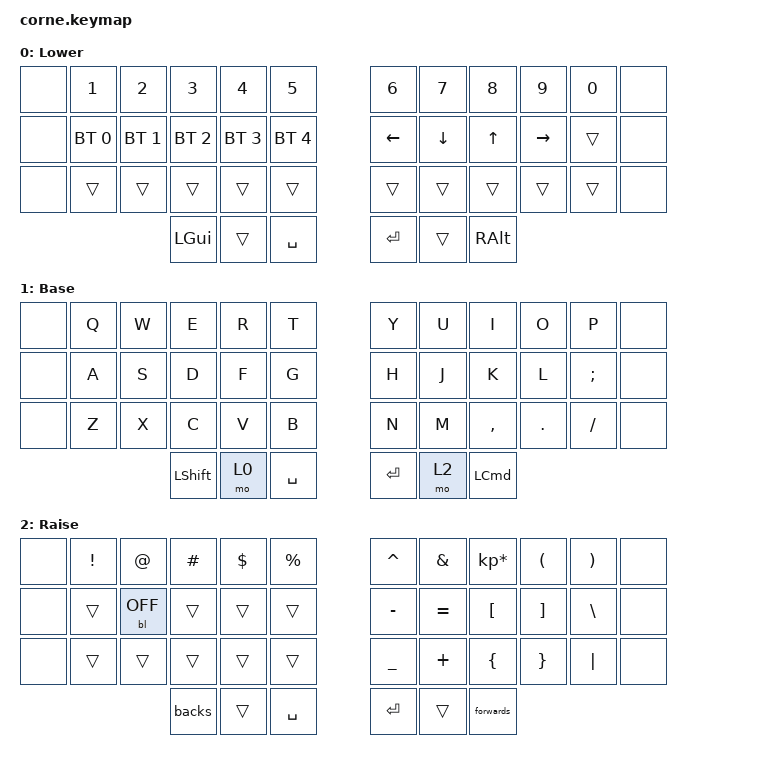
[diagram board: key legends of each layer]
/*
 * Copyright (c) 2020 The ZMK Contributors
 *
 * SPDX-License-Identifier: MIT
 */

#include <behaviors.dtsi>
#include <dt-bindings/zmk/backlight.h>
#include <dt-bindings/zmk/bt.h>
#include <dt-bindings/zmk/keys.h>

/ {
    combos {
        compatible = "zmk,combos";

        bckspc {
            bindings = <&kp BACKSPACE>;
            key-positions = <9 10>;
            layers = <1>;
        };

        del {
            bindings = <&kp DEL>;
            key-positions = <21 22>;
            layers = <1>;
        };

        tags {
            bindings = <&kp TAB>;
            key-positions = <13 14>;
            layers = <1>;
        };
    };

    macros {
        forwards: Rais {
            compatible = "zmk,behavior-macro";
            #binding-cells = <0>;
            bindings = <&kp RIGHT_SHIFT &kp LEFT_COMMAND &kp RIGHT_BRACKET>;
            label = "fork";
        };

        backs: Raise {
            compatible = "zmk,behavior-macro";
            #binding-cells = <0>;
            bindings = <&kp RIGHT_SHIFT &kp LEFT_COMMAND &kp LEFT_BRACKET>;
            label = "NEW_MACRO";
        };
    };

    keymap {
        compatible = "zmk,keymap";

        lower_layer {
            // -----------------------------------------------------------------------------------------
            // |  TAB |  1  |  2  |  3  |  4  |  5  |   |  6  |  7  |  8  |  9  |  0  | BKSP |
            // | BTCLR| BT1 | BT2 | BT3 | BT4 | BT5 |   | LFT | DWN |  UP | RGT |     |      |
            // | SHFT |     |     |     |     |     |   |     |     |     |     |     |      |
            //                    | GUI |     | SPC |   | ENT |     | ALT |

            display-name = "Lower";
            bindings = <
&none  &kp N1        &kp N2        &kp N3        &kp N4        &kp N5          &kp N6    &kp N7    &kp N8    &kp N9     &kp N0  &none
&none  &bt BT_SEL 0  &bt BT_SEL 1  &bt BT_SEL 2  &bt BT_SEL 3  &bt BT_SEL 4    &kp LEFT  &kp DOWN  &kp UP    &kp RIGHT  &trans  &none
&none  &trans        &trans        &trans        &trans        &trans          &trans    &trans    &trans    &trans     &trans  &none
                                   &kp LGUI      &trans        &kp SPACE       &kp RET   &trans    &kp RALT
            >;
        };

        default_layer {
            // -----------------------------------------------------------------------------------------
            // |  TAB |  Q  |  W  |  E  |  R  |  T  |   |  Y  |  U   |  I  |  O  |  P  | BKSP |
            // | CTRL |  A  |  S  |  D  |  F  |  G  |   |  H  |  J   |  K  |  L  |  ;  |  '   |
            // | SHFT |  Z  |  X  |  C  |  V  |  B  |   |  N  |  M   |  ,  |  .  |  /  | ESC  |
            //                    | GUI | LWR | SPC |   | ENT | RSE  | ALT |

            display-name = "Base";
            bindings = <
&none  &kp Q  &kp W  &kp E           &kp R  &kp T        &kp Y    &kp U  &kp I             &kp O    &kp P     &none
&none  &kp A  &kp S  &kp D           &kp F  &kp G        &kp H    &kp J  &kp K             &kp L    &kp SEMI  &none
&none  &kp Z  &kp X  &kp C           &kp V  &kp B        &kp N    &kp M  &kp COMMA         &kp DOT  &kp FSLH  &none
                     &kp LEFT_SHIFT  &mo 0  &kp SPACE    &kp RET  &mo 2  &kp LEFT_COMMAND
            >;
        };

        raise_layer {
            // -----------------------------------------------------------------------------------------
            // |  TAB |  !  |  @  |  #  |  $  |  %  |   |  ^  |  &  |  *  |  (  |  )  | BKSP |
            // | CTRL |     |     |     |     |     |   |  -  |  =  |  [  |  ]  |  \  |  `   |
            // | SHFT |     |     |     |     |     |   |  _  |  +  |  {  |  }  | "|" |  ~   |
            //                    | GUI |     | SPC |   | ENT |     | ALT |

            display-name = "Raise";
            bindings = <
&none  &kp EXCL  &kp AT      &kp HASH  &kp DLLR  &kp PRCNT    &kp CARET  &kp AMPS   &kp KP_MULTIPLY  &kp LPAR  &kp RPAR  &none
&none  &trans    &bl BL_OFF  &trans    &trans    &trans       &kp MINUS  &kp EQUAL  &kp LBKT         &kp RBKT  &kp BSLH  &none
&none  &trans    &trans      &trans    &trans    &trans       &kp UNDER  &kp PLUS   &kp LBRC         &kp RBRC  &kp PIPE  &none
                             &backs    &trans    &kp SPACE    &kp RET    &trans     &forwards
            >;
        };
    };
};
